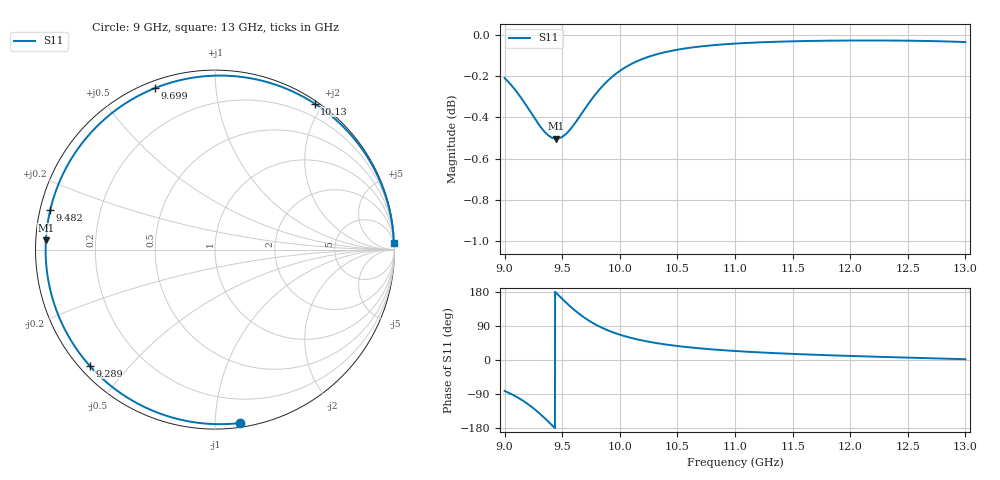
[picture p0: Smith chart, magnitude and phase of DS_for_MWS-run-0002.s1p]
! TOUCHSTONE file generated by CST DESIGN STUDIO
! Date and time: Tue Feb  4 14:15:54 2025
! Project name: C:\Work\MatlabApps\UnitCellOptimizationMatlab\CST\unitcell.cst
! Tree item: Tasks\Sweep1\SPara1\S-Parameters
! Header version: 2024
! Port assignment regex: !\s*Touchstone port\s*([0-9]+)\s*=\s*(CST MWS port|CST DES external port|CST DES block port)\s*(.+)\s* \(\"(.*)\"\)(\s*mode\s*([0-9]+))?.*
! Touchstone port assignment:
! Touchstone port 1 = CST DES external port 1 ("")
# GHz S MA R 50
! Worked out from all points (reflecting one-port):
!   4001 points, 9 GHz to 13 GHz, reference 50 ohm
!   lowest |S11| = -0.5 dB at 9.448 GHz (marker M1), VSWR 34.55, Z = 1.45 + j1.38 ohm
!   phase of S11 starts at -82 deg and turns -276 deg over the sweep
!   S11 on the Smith chart (normalised r, x): 9 GHz: 0.03, -1.16; 9.289 GHz: 0.03, -0.39; 9.482 GHz: 0.03, +0.12; 9.699 GHz: 0.03, +0.69; 10.13 GHz: 0.03, +1.89; 13 GHz: 6, +56
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9  0.9763 -81.6
9.089  0.9701 -94.7
9.161  0.964 -107.8
9.227  0.9577 -121.9
9.289  0.9519 -137.2
9.334  0.9483 -149.4
9.374  0.9457 -161.0
9.411  0.9443 -172.0
9.448  0.9437 176.8
9.482  0.9441 166.6
9.5  0.9447 161.3
9.552  0.9474 146.3
9.6  0.951 133.4
9.648  0.9552 121.7
9.699  0.9598 110.4
9.757  0.9649 99.2
9.822  0.97 88.5
9.908  0.9756 76.8
10  0.9802 66.8
10.133  0.985 55.7
10.298  0.989 45.7
10.5  0.9919 36.9
10.723  0.9939 30.0
11  0.9953 23.7
11.5  0.9966 16.1
12  0.997 10.7
12.5  0.9969 6.3
13  0.9961 2.0
